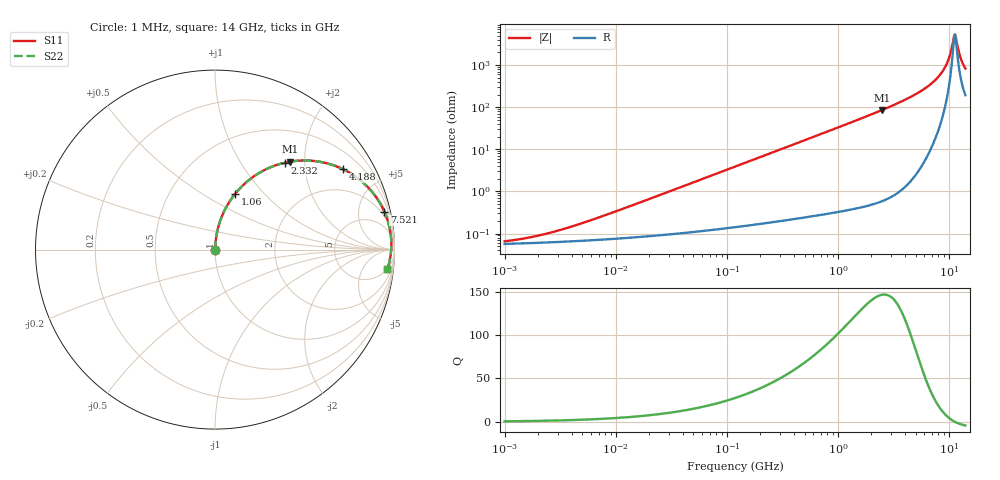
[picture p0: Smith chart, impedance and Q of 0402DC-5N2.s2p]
# MHz  S  MA  R  50
!Freq  MagS11  AngS11  MagS21  AngS21  MagS12  AngS12  MagS22  AngS22
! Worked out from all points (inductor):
!   801 points, 1 MHz to 14 GHz, reference 50 ohm
!   read as one part in series: L = 5.2 nH near 6.449 MHz
!   highest Q = 146 at 2.476 GHz (marker M1), where L = 5.46 nH
!   self-resonance near 11.16 GHz
!   S11 on the Smith chart (normalised r, x): 1 MHz: 1.00, +0.00; 1.06 GHz: 1.01, +0.70; 2.332 GHz: 1.01, +1.59; 4.188 GHz: 1.03, +3.18; 7.521 GHz: 1.37, +8.86; 14 GHz: 5, -16
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1  0.0006527 30.0  0.9994 -0.0  0.9994 -0.0  0.0006527 30.0
2.122819  0.0009195 48.9  0.9994 -0.0  0.9994 -0.0  0.0009195 48.9
4.958368  0.001752 67.4  0.9993 -0.1  0.9993 -0.1  0.001752 67.4
24.29341  0.007981 83.1  0.9991 -0.5  0.9991 -0.5  0.007981 83.1
119.025  0.03883 85.7  0.9978 -2.2  0.9978 -2.2  0.03883 85.7
583.1601  0.1872 78.4  0.9798 -10.8  0.9798 -10.8  0.1872 78.4
1059.846  0.3289 70.3  0.9412 -19.2  0.9412 -19.2  0.3289 70.3
1572.109  0.4626 62.0  0.883 -27.6  0.883 -27.6  0.4626 62.0
2331.969  0.6208 51.2  0.7797 -38.4  0.7797 -38.4  0.6208 51.2
2475.531  0.6455 49.4  0.7594 -40.2  0.7594 -40.2  0.6455 49.4
2857.179  0.7039 44.9  0.7054 -44.7  0.7054 -44.7  0.7039 44.9
4187.825  0.8428 32.0  0.5307 -57.4  0.5307 -57.4  0.8428 32.0
5851.715  0.9288 20.8  0.3545 -68.2  0.3545 -68.2  0.9288 20.8
7520.63  0.967 12.6  0.2181 -75.1  0.2181 -75.1  0.967 12.6
8576.977  0.978 8.4  0.147 -77.2  0.147 -77.2  0.978 8.4
9437.284  0.9822 5.5  0.09593 -76.6  0.09593 -76.6  0.9822 5.5
10018.26  0.9832 3.6  0.06464 -73.2  0.06464 -73.2  0.9832 3.6
10762.84  0.9828 1.4  0.02984 -54.2  0.02984 -54.2  0.9828 1.4
11155.64  0.982 0.3  0.01884 -16.8  0.01884 -16.8  0.982 0.3
11562.76  0.9807 -0.8  0.02346 34.2  0.02346 34.2  0.9807 -0.8
12722.56  0.9751 -3.7  0.06782 66.6  0.06782 66.6  0.9751 -3.7
14000  0.9662 -6.5  0.117 70.0  0.117 70.0  0.9662 -6.5
